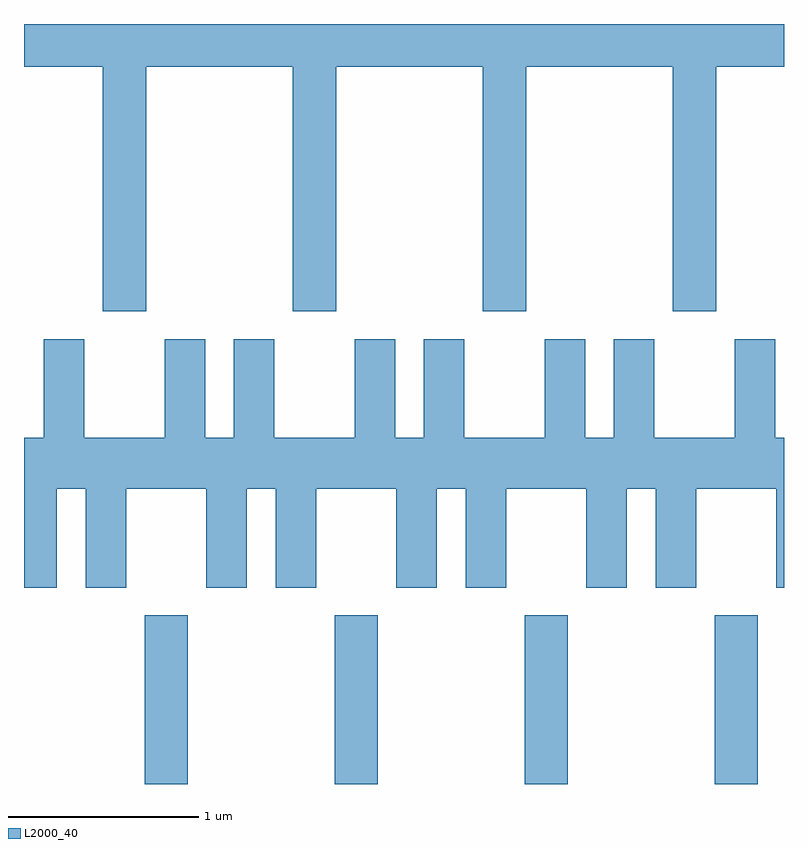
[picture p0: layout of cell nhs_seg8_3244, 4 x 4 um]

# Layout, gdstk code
import gdstk
lib = gdstk.Library(unit=1e-6, precision=1e-09)
def R(c, l, rs):  # rectangles x0, y0, x1, y1
    for r in rs: c.add(gdstk.rectangle(r[:2], r[2:], *l))
def A(c, l, x, y, w, h, nx, ny, dx, dy):  # array of equal rectangles
    R(c, l, [(x+i*dx, y+j*dy, x+i*dx+w, y+j*dy+h) for i in range(nx) for j in range(ny)])
def P(c, l, *ps):  # polygons
    for p in ps: c.add(gdstk.Polygon(p, *l))
L2000_40 = (2000, 40)

nhs_seg8_3244 = lib.new_cell('nhs_seg8_3244')
A(nhs_seg8_3244, L2000_40, 282.246, 1910.342, 0.228, 0.887, 4, 1, 1, 0)
P(nhs_seg8_3244, L2000_40, [(282.254,1914.116),(283.026,1914.116),(283.026,1912.831),(283.254,1912.831),(283.254,1914.116),(284.026,1914.116),(284.026,1912.831),(284.254,1912.831),(284.254,1914.116),(285.026,1914.116),(285.026,1912.831),(285.254,1912.831),(285.254,1914.116),(285.611,1914.116),(285.611,1914.342),(281.611,1914.342),(281.611,1914.116),(282.026,1914.116),(282.026,1912.831),(282.254,1912.831)],
  [(283.936,1911.376),(284.149,1911.376),(284.149,1911.896),(284.571,1911.896),(284.571,1911.376),(284.784,1911.376),(284.784,1911.896),(284.936,1911.896),(284.936,1911.376),(285.149,1911.376),(285.149,1911.896),(285.571,1911.896),(285.571,1911.376),(285.611,1911.376),(285.611,1912.164),(285.564,1912.164),(285.564,1912.684),(285.351,1912.684),(285.351,1912.164),(284.929,1912.164),(284.929,1912.684),(284.716,1912.684),(284.716,1912.164),(284.564,1912.164),(284.564,1912.684),(284.351,1912.684),(284.351,1912.164),(283.929,1912.164),(283.929,1912.684),(283.716,1912.684),(283.716,1912.164),(283.564,1912.164),(283.564,1912.684),(283.351,1912.684),(283.351,1912.164),(282.929,1912.164),(282.929,1912.684),(282.716,1912.684),(282.716,1912.164),(282.564,1912.164),(282.564,1912.684),(282.351,1912.684),(282.351,1912.164),(281.929,1912.164),(281.929,1912.684),(281.716,1912.684),(281.716,1912.164),(281.611,1912.164),(281.611,1911.376),(281.784,1911.376),(281.784,1911.896),(281.936,1911.896),(281.936,1911.376),(282.149,1911.376),(282.149,1911.896),(282.571,1911.896),(282.571,1911.376),(282.784,1911.376),(282.784,1911.896),(282.936,1911.896),(282.936,1911.376),(283.149,1911.376),(283.149,1911.896),(283.571,1911.896),(283.571,1911.376),(283.784,1911.376),(283.784,1911.896),(283.936,1911.896)])

lib.write_gds('nhs_seg8_3244.gds')
